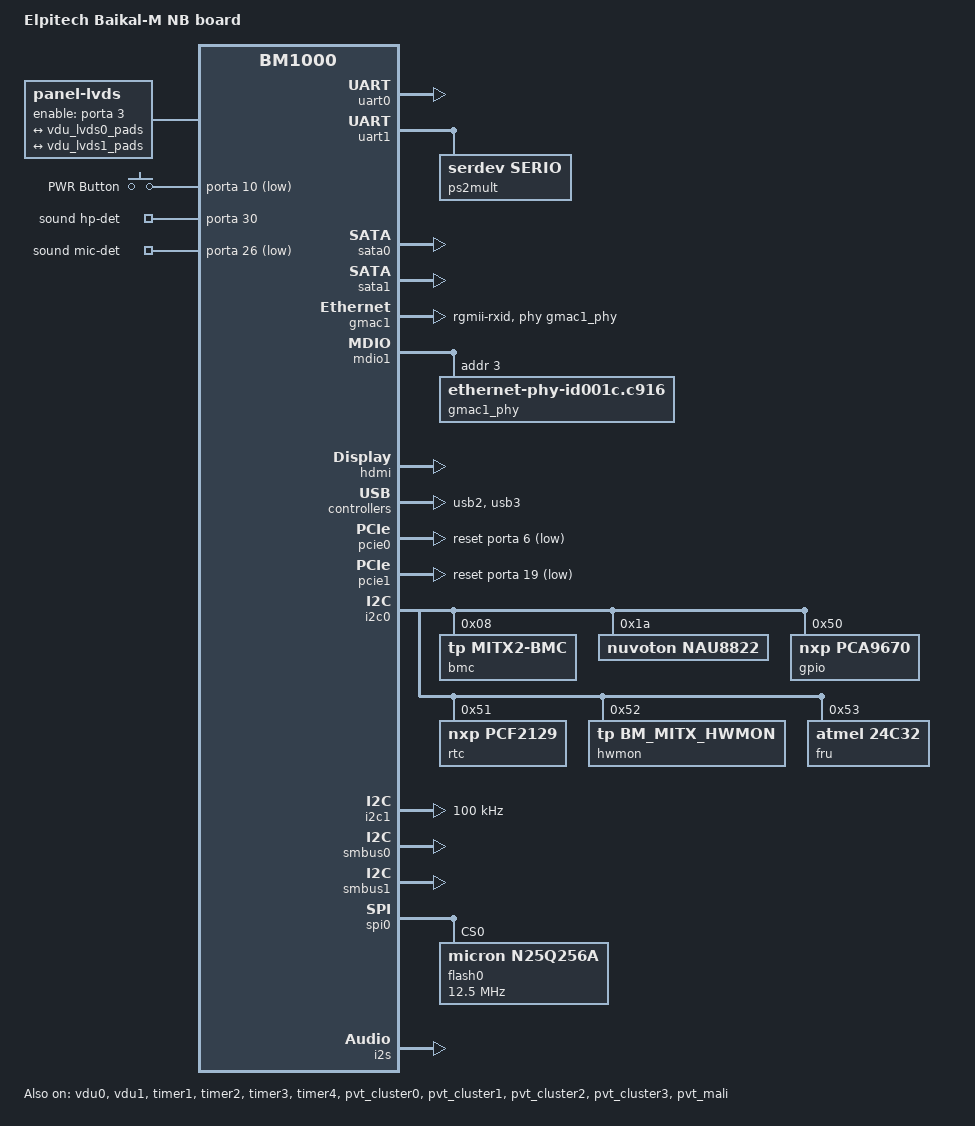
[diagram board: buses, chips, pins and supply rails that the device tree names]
// SPDX-License-Identifier: GPL-2.0
/*
 * Baikal-M Mini-ITX board device tree (test version)
 *
 */

/dts-v1/;

#include "bm1000.dtsi"
#include <dt-bindings/net/realtek-phy-rtl8211f.h>
#include <dt-bindings/input/gpio-keys.h>
#include <dt-bindings/input/linux-event-codes.h>

/ {

	model = "Elpitech Baikal-M NB board";
	compatible = "baikal,baikal-m";
	#address-cells = <2>;
	#size-cells = <2>;

	aliases {
		ethernet0 = &gmac1;
		fru = &fru;
	};

	chosen { };

	panel {
		compatible = "panel-lvds";
		width-mm = <223>;
		height-mm = <125>;
		data-mapping = "vesa-24";
		enable-gpios = <&porta 3 GPIO_ACTIVE_HIGH>;
		elpitech,edp-addr = <&i2c1 0x70>;
		panel-timing {
		// 1920x1080 @60Hz
			clock-frequency = <148500000>;
			hactive = <1920>;
			vactive = <1080>;
			hsync-len = <44>;
			hfront-porch = <88>;
			hback-porch = <148>;
			vsync-len = <5>;
			vfront-porch = <4>;
			vback-porch = <36>;
		};
		port {
			#address-cells = <1>;
			#size-cells = <0>;
			panel0_lvds0: endpoint@0 {
				reg = <0>;
				remote-endpoint = <&vdu_lvds0_pads>;
			};
			panel0_lvds1: endpoint@1 {
				reg = <1>;
				remote-endpoint = <&vdu_lvds1_pads>;
			};
		};
	};

	gpio-keys {
		compatible = "gpio-keys";
		pwr {
			label = "PWR Button";
			linux,code = <116>;
			gpios = <&porta 10 GPIO_ACTIVE_LOW>;
			wakeup-source;
			wakeup-event-action = <EV_ACT_DEASSERTED>;
		};
	};

	sound {
		compatible = "simple-audio-card";
		simple-audio-card,name = "MITX-Sound-Card";
		simple-audio-card,bitclock-master = <&codec0>;
		simple-audio-card,frame-master = <&codec0>;
		simple-audio-card,widgets =
			"Microphone", "Mic Jack",
			"Headphone", "Headphones",
			"Speaker", "AUX Out",
			"Line", "Line In";
		simple-audio-card,routing =
			"Headphones", "RHP",
			"Headphones", "LHP",
			"AUX Out", "AUXOUT1",
			"AUX Out", "AUXOUT2",
			"L2", "Mic Jack",
			"R2", "Mic Jack",
			"LAUX", "Line In",
			"RAUX", "Line In";

		simple-audio-card,hp-det-gpio = <&porta 30 GPIO_ACTIVE_HIGH>;
		simple-audio-card,mic-det-gpio = <&porta 26 GPIO_ACTIVE_LOW>;
		simple-audio-card,format = "i2s";

		simple-audio-card,cpu {
			sound-dai = <&i2s>;
		};
		codec0: simple-audio-card,codec {
			sound-dai = <&nau8822 0>;
		};
	};
};

&uart0 {
	status = "okay";
};

&uart1 {
	status = "okay";

	ps2mult {
		compatible = "serdev,serio";
		current-speed = <115200>;
		protocol = <0x3c>; /* SERIO_PS2MULT */
	};
};

&sata0 {
	status = "okay";
};

&sata1 {
	status = "okay";
};

&gmac1 {
	status = "okay";
	snps,reset-gp-out;
	snps,reset-active-low;
	snps,reset-delays-us = <10>, <10000>, <50000>;
	phy-mode = "rgmii-rxid";
	phy-handle = <&gmac1_phy>;
};

&mdio1 {
	gmac1_phy: ethernet-phy@3 {
		compatible = "ethernet-phy-id001c.c916", "ethernet-phy-ieee802.3-c22";
		reg = <0x3>;
		txd0-skew-ps = <0>;
		txd1-skew-ps = <0>;
		txd2-skew-ps = <0>;
		txd3-skew-ps = <0>;
		txc-skew-ps  = <0xff>;
		realtek,led-mode = <RTL8211F_LED_MODE_B>;
		realtek,led0-control = <RTL8211F_LINK10_1000_ACT>;
		realtek,led1-control = <RTL8211F_LINK100_1000>;
	};
};

&vdu0 {
	status = "okay";
	num-lanes = <2>;
	lvds-lanes = <2>;
	port {
		#address-cells = <1>;
		#size-cells = <0>;
		vdu_lvds0_pads: endpoint@0 {
			reg = <0>;
			remote-endpoint = <&panel0_lvds0>;
		};
		vdu_lvds1_pads: endpoint@1 {
			reg = <1>;
			remote-endpoint = <&panel0_lvds1>;
		};
	};
};

&hdmi {
	status = "okay";
};

&vdu1 {
	status = "okay";
};

&gpio32 {
	status = "okay";
};

&usb2 {
	status = "okay";
};

&usb3 {
	status = "okay";
};

&pcie0 {
	status = "okay";
	reset-gpios = <&porta 6 GPIO_ACTIVE_LOW>;
};

&pcie1 {
	status = "okay";
	reset-gpios = <&porta 19 GPIO_ACTIVE_LOW>;
};

&timer1 {
	status = "okay";
};

&timer2 {
	status = "okay";
};

&timer3 {
	status = "okay";
};

&timer4 {
	status = "okay";
};

&pvt_cluster0 {
	status = "okay";
};

&pvt_cluster1 {
	status = "okay";
};

&pvt_cluster2 {
	status = "okay";
};

&pvt_cluster3 {
	status = "okay";
};

&pvt_mali {
	status = "okay";
};

&i2c0 {
	status = "okay";

	bmc@8 {
		compatible = "tp,mitx2-bmc", "t-platforms,mitx2-bmc";
		reg = <0x08>;
	};

	nau8822: nau8822@1a {
		compatible = "nuvoton,nau8822";
		#sound-dai-cells = <1>;
		reg = <0x1a>;
	};

	gpio@50 {
		compatible = "nxp,pca9670";
		#gpio-cells = <2>;
		gpio-controller;
		reg = <0x50>;
	};

	rtc@51 {
		compatible = "nxp,pcf2129", "nxp,pcf2127";
		reg = <0x51>;
	};

	hwmon@52 {
		compatible = "tp,bm_mitx_hwmon";
		reg = <0x52>;
	};

	fru: eeprom@53 {
		compatible = "atmel,24c32";
		pagesize = <32>;
		reg = <0x53>;
	};
};

&i2c1 {
	status = "okay";
	clock-frequency = <100000>;
};

&smbus0 {
	status = "okay";
};

&smbus1 {
	status = "okay";
};

&spi0 {
	num-cs = <4>;

	status = "okay";
	flash0: flash@0 {
		compatible = "micron,n25q256a", "jedec,spi-nor";
		reg = <0>;
		#address-cells = <1>;
		#size-cells = <1>;
		spi-max-frequency = <12500000>;
		status = "okay";

		/* Flash chip0 partitions */
		mtd0@0 {
			label = "bl1";
			reg = <0x00000000 0x00040000>;
			read-only;
		};

		mtd1@40000 {
			label = "fip";
			reg = <0x00040000 0x007c0000>;
		};

		mtd2@800000 {
			label = "rescue";
			reg = <0x00800000 0x01800000>;
		};
	};
};

&i2s {
	status = "okay";
	system-clock-frequency = <12000000>;
	#sound-dai-cells = <0>;
};

